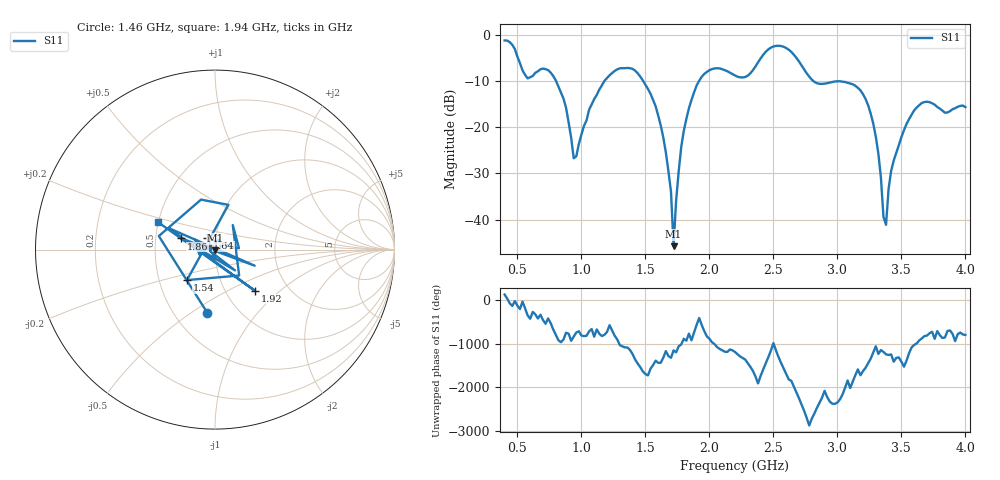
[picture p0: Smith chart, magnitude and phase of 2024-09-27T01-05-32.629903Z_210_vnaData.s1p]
!Created with skrf (http://scikit-rf.org).
# Hz S RI R 50.0
!freq ReS11 ImS11
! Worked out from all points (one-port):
!   181 points, 400 MHz to 4 GHz, reference 50 ohm
!   lowest |S11| = -45.7 dB at 1.72 GHz (marker M1), VSWR 1.01, Z = 50.2 - j0.489 ohm
!   |S11| at or under -10 dB: 802.5 MHz to 1.179 GHz (376.3 MHz wide, 38 % of centre); 1.483 GHz to 1.919 GHz (435.3 MHz wide, 25.6 % of centre); 2.814 GHz to end of sweep
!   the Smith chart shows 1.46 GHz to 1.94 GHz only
!   S11 on the Smith chart (normalised r, x): 1.46 GHz: 0.72, -0.58; 1.54 GHz: 0.69, -0.25; 1.64 GHz: 0.91, +0.12; 1.86 GHz: 0.68, +0.09; 1.92 GHz: 1.37, -0.70; 1.94 GHz: 0.50, +0.17
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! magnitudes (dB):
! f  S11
! 400 MHz  -1.2
! 580 MHz  -9.4
! 740 MHz  -7.6
! 860 MHz  -13.8
! 940 MHz  -26.7
! 1.1 GHz  -13.9
! 1.3 GHz  -7.2
! 1.46 GHz  -9.0
! 1.54 GHz  -12.7
! 1.64 GHz  -22.2
! 1.7 GHz  -34.0
! 1.72 GHz  -45.7
! 1.76 GHz  -29.6
! 1.86 GHz  -14.1
! 1.92 GHz  -9.9
! 1.94 GHz  -9.1
! 2.2 GHz  -8.8
! 2.5 GHz  -2.5
! 2.66 GHz  -4.3
! 2.84 GHz  -10.5
! 3.1 GHz  -10.5
! 3.28 GHz  -19.2
! 3.36 GHz  -39.4
! 3.38 GHz  -41.1
! 3.42 GHz  -29.4
! 3.56 GHz  -18.2
! 3.68 GHz  -14.5
! 4 GHz  -15.6
